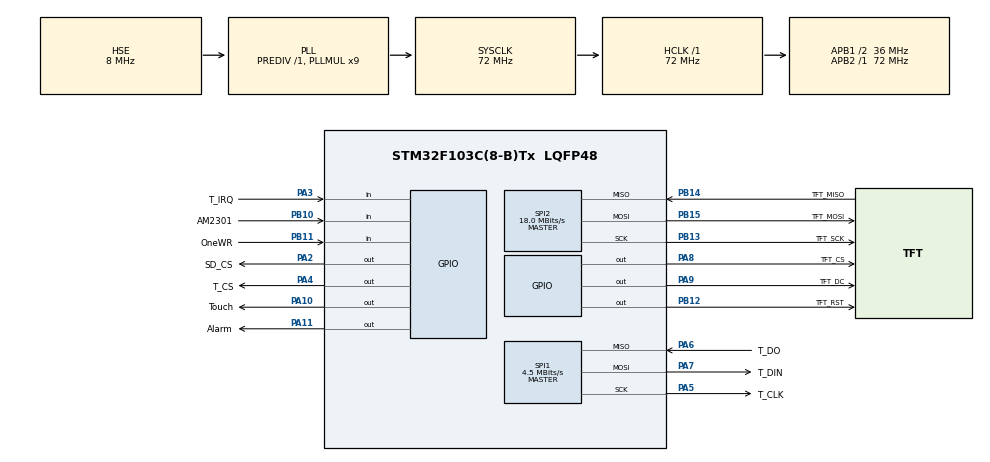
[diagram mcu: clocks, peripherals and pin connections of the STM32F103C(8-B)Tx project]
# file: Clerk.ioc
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Mcu.Family=STM32F1
PA6.Mode=Full_Duplex_Master
FATFS._USE_LFN=1
SPI1.VirtualType=VM_MASTER
SPI2.VirtualType=VM_MASTER
TIM1.RepetitionCounter=0
PB14.GPIO_Label=TFT_MISO
PA3.GPIO_PuPd=GPIO_PULLUP
PA2.GPIO_Speed=GPIO_SPEED_FREQ_HIGH
VP_RTC_VS_RTC_Activate.Mode=RTC_Enabled
PA6.GPIO_Label=T_DO
NVIC.TIM1_UP_IRQn=true\:0\:0\:false\:false\:true\:true\:true
PB13.GPIO_Label=TFT_SCK
PB11.Signal=GPIO_Input
PB13.Signal=SPI2_SCK
PB15.Signal=SPI2_MOSI
RCC.SYSCLKSource=RCC_SYSCLKSOURCE_PLLCLK
ProjectManager.StackSize=0x400
PD1-OSC_OUT.Signal=RCC_OSC_OUT
NVIC.RTC_IRQn=true\:0\:0\:false\:false\:true\:true\:true
TIM1.Prescaler=719
FATFS._MAX_LFN=15
SPI1.Direction=SPI_DIRECTION_2LINES
RCC.HCLKFreq_Value=72000000
RCC.APB2TimFreq_Value=72000000
PB12.PinState=GPIO_PIN_RESET
SPI1.CalculateBaudRate=4.5 MBits/s
RCC.AHBFreq_Value=72000000
SPI2.BaudRatePrescaler=SPI_BAUDRATEPRESCALER_2
RCC.RTCClockSelection=RCC_RTCCLKSOURCE_LSE
RCC.PLLMUL=RCC_PLL_MUL9
PA4.GPIO_Speed=GPIO_SPEED_FREQ_HIGH
PB12.GPIO_Label=TFT_RST
PA2.PinState=GPIO_PIN_SET
PC14-OSC32_IN.Mode=LSE-External-Oscillator
PA14.Mode=Serial_Wire
PB14.Mode=Full_Duplex_Master
PA10.GPIO_Label=Touch
SPI2.CalculateBaudRate=18.0 MBits/s
PA8.Signal=GPIO_Output
VP_TIM1_VS_ClockSourceINT.Mode=Internal
Mcu.Package=LQFP48
PA6.Signal=SPI1_MISO
SPI2.Mode=SPI_MODE_MASTER
PA2.GPIO_Label=SD_CS
PA10.Signal=GPIO_Output
RCC.APB1TimFreq_Value=72000000
SPI2.Direction=SPI_DIRECTION_2LINES
TIM1.Period=999
PB13.Mode=Full_Duplex_Master
SPI1.BaudRatePrescaler=SPI_BAUDRATEPRESCALER_16
PA4.GPIO_Label=T_CS
PA8.GPIO_Speed=GPIO_SPEED_FREQ_HIGH
PA3.Signal=GPIO_Input
PA5.Mode=Full_Duplex_Master
RCC.PLLSourceVirtual=RCC_PLLSOURCE_HSE
PC15-OSC32_OUT.Mode=LSE-External-Oscillator
PA7.Mode=Full_Duplex_Master
PD1-OSC_OUT.Mode=HSE-External-Oscillator
PA9.GPIO_Label=TFT_DC
PB11.GPIO_Label=OneWR
PA11.GPIO_Label=Alarm
PD0-OSC_IN.Signal=RCC_OSC_IN
RCC.APB1CLKDivider=RCC_HCLK_DIV2
PC14-OSC32_IN.Signal=RCC_OSC32_IN
PA13.Signal=SYS_JTMS-SWDIO
PA8.GPIO_Label=TFT_CS
PA4.PinState=GPIO_PIN_SET
ProjectManager.TargetToolchain=MDK-ARM V5
PB10.GPIO_Label=AM2301
PA9.Signal=GPIO_Output
PA9.PinState=GPIO_PIN_RESET
RTC.Format=RTC_FORMAT_BCD
RCC.USBFreq_Value=72000000
PC15-OSC32_OUT.Signal=RCC_OSC32_OUT
PB12.GPIO_Speed=GPIO_SPEED_FREQ_HIGH
VP_FATFS_VS_Generic.Mode=User_defined
PD0-OSC_IN.Mode=HSE-External-Oscillator
PB10.Signal=GPIO_Input
PB14.Signal=SPI2_MISO
PA5.Signal=SPI1_SCK
board=custom
PB15.Mode=Full_Duplex_Master
RCC.APB2Freq_Value=72000000
PB15.GPIO_Label=TFT_MOSI
SPI1.Mode=SPI_MODE_MASTER
PA13.Mode=Serial_Wire
Mcu.Name=STM32F103C(8-B)Tx
PA2.Signal=GPIO_Output
FATFS._MAX_SS=4096
PA4.Signal=GPIO_Output
RCC.SYSCLKFreq_VALUE=72000000
PA7.GPIO_Label=T_DIN
PA5.GPIO_Label=T_CLK
PA11.Signal=GPIO_Output
PA14.Signal=SYS_JTCK-SWCLK
ProjectManager.HeapSize=0x200
NVIC.PriorityGroup=NVIC_PRIORITYGROUP_4
PA9.GPIO_Speed=GPIO_SPEED_FREQ_HIGH
RCC.APB1Freq_Value=36000000
PA11.PinState=GPIO_PIN_SET
PB12.Signal=GPIO_Output
PA3.GPIO_Label=T_IRQ
PA7.Signal=SPI1_MOSI

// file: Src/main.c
/* USER CODE BEGIN Header */
/**
STM32F103C8Tx LQFP48	Flash:64 kBytes	RAM:20 kBytes
  ******************************************************************************
  * @file           : main.c
  * @brief          : Main program body
  ******************************************************************************
  * @attention
  *
  * <h2><center>&copy; Copyright (c) 2020 STMicroelectronics.
  * All rights reserved.</center></h2>
  *
  * This software component is licensed by ST under Ultimate Liberty license
  * SLA0044, the "License"; You may not use this file except in compliance with
  * the License. You may obtain a copy of the License at:
  *                             www.st.com/SLA0044
  *
  ******************************************************************************
  * Програма КЛЕРК v 1.0 31.08.2026
  */
/* USER CODE END Header */

#include "main.h"
#include "fatfs.h"

/* USER CODE BEGIN Includes */
#include <stdio.h>
#include <stdlib.h>
#include "tft_proc.h"
#include "ili9341_touch.h"
#include "ds18b20.h"
#include "displ.h"
#include "FatFsAPI.h"
#include "rtc.h"
#include "my.h"
#include "lang.h"
/* USER CODE END Includes */

RTC_HandleTypeDef hrtc;

SPI_HandleTypeDef hspi1;
SPI_HandleTypeDef hspi2;

TIM_HandleTypeDef htim1;

/* USER CODE BEGIN PV */
RTC_TimeTypeDef sTime;
RTC_DateTypeDef sDate;

char fileName[15]={0};
char txt[10];
char buffTFT[LEN_BUFF];
const char* dateName[5]={D_N0, D_N1, D_N2, D_N3, D_N4};
const char* setName[MAX_SET]={"Max T","Min T", S_N2, S_N3, S_N4}; // "Max T","Min T","Period","Mode","Storage"
int16_t set[MAX_SET]={250,240,10,0,2}, newValue=0;
volatile uint8_t displ_num=0, newButt=1, ticTimer, ticTouch, show, Y_txt=5, X_left=5, Y_top, Y_bottom=ILI9341_HEIGHT-22, buttonAmount, secTick, card=0;
uint8_t familycode[MAX_DEVICE][8]={0};
int8_t ds18b20_amount, numSet=0, numDate=0, newDate=0;
volatile int8_t resetDispl=0;
int16_t ds18b20_val[MAX_DEVICE]={199}, max_t, min_t, midl_t, val_t, pvT, pvRH;
uint16_t touch_x, touch_y;
uint16_t fillScreen = ILI9341_BLACK;
volatile uint32_t checkButt;
struct ram_structure {int x,y; char w,h;} buttons[4];

extern FATFS SDFatFs;
extern FIL MyFile;
/* USER CODE END PV */

void SystemClock_Config(void);
static void MX_GPIO_Init(void);
static void MX_SPI2_Init(void);
static void MX_SPI1_Init(void);
static void MX_TIM1_Init(void);
static void MX_RTC_Init(void);

/* USER CODE BEGIN 0 */
//-------- Period elapsed callback --------------
void HAL_TIM_PeriodElapsedCallback(TIM_HandleTypeDef *htim){
  if(htim->Instance == TIM1) //check if the interrupt comes from TIM1 (10 ms)
  {
    checkButt++;
    uint8_t sound = 0;

    if (ticTouch){
      --ticTouch;
      sound = 1; // touch indication
    }
    if (ticTimer){
      --ticTimer;
      if (set[3]&1) sound = 1; // alarm indication
    }

    HAL_GPIO_WritePin(Touch_GPIO_Port, Touch_Pin, sound ? GPIO_PIN_SET : GPIO_PIN_RESET);
  }
}
/* USER CODE END 0 */

int main(void)
{

  /* MCU Configuration--------------------------------------------------------*/

  /* Reset of all peripherals, Initializes the Flash interface and the Systick. */
  HAL_Init();

  /* Configure the system clock */
  SystemClock_Config();

  /* Initialize all configured peripherals */
  MX_GPIO_Init();
  MX_SPI2_Init();
  MX_SPI1_Init();
  MX_TIM1_Init();
  MX_FATFS_Init();
  MX_RTC_Init();
  /* USER CODE BEGIN 2 */
//----------- Local variables -----------
  uint8_t item;
//  struct gmc systime;
//--------------------------------------------
//  HAL_GPIO_WritePin(GPIOC, GPIO_PIN_13, GPIO_PIN_SET);  // LED_PC13=OFF
  HAL_TIM_Base_Start_IT(&htim1);
  TFT_init();
  ds18b20_port_init();
  item = ds18b20_count(MAX_DEVICE);   // check for sensors presence; if item == 0, sensors are found
  //ds18b20_amount = 21;
  //*******************************************************************************************************************************************************************************
  HAL_RTC_WaitForSynchro(&hrtc);                      // This function must be called after power-on, wake-up, or reset
  if (HAL_RTCEx_BKUPRead(&hrtc,RTC_BKP_DR1) == 0){    // Check if the date has already been saved or not
   // if not, set an initial date and time
   setDataAndTime(0x26,RTC_MONTH_SEPTEMBER,0x01,RTC_WEEKDAY_THURSDAY,0x00,0x00,0x00,RTC_FORMAT_BCD);//2026,JANUARY,01  WEEKDAY_THURSDAY  00:00:00
   writeDateToBackup(RTC_BKP_DR1);                    // and write the date to the backup registers
   writeSetToBackup(RTC_BKP_DR2);                     // write default settings values
  }
  else {
    readSetToBackup(RTC_BKP_DR2);                     // read settings values stored in memory
    readBackupToDate(RTC_BKP_DR1);                    // perform date correction
    writeDateToBackup(RTC_BKP_DR1);                   // save the updated date
  }
  //*******************************************************************************************************************************************************************************

  HAL_RTCEx_SetSecond_IT(&hrtc);
  ILI9341_WriteString(5, Y_txt, (char*)STR_QUANTITY, Font_11x18, ILI9341_CYAN, ILI9341_BLACK);
  sprintf(buffTFT," %d",ds18b20_amount);
  ILI9341_WriteString(5+11*19, Y_txt, buffTFT, Font_11x18, ILI9341_CYAN, ILI9341_BLACK);
  Y_txt = Y_txt+18+5;

  HAL_RTC_GetTime(&hrtc, &sTime, RTC_FORMAT_BIN);
  HAL_RTC_GetDate(&hrtc, &sDate, RTC_FORMAT_BIN);
  sprintf(buffTFT,"%02u:%02u:%02u    %02u.%02u.20%02u",sTime.Hours, sTime.Minutes, sTime.Seconds,sDate.Date,sDate.Month,sDate.Year);
  ILI9341_WriteString(X_left+20, Y_txt, buffTFT, Font_11x18, ILI9341_YELLOW, fillScreen);
  Y_txt = Y_txt+18+5;
  //------ generating file name ---------------------------------------
  sprintf(fileName,"%02u_%02u_%02u.csv",sDate.Year,sDate.Month,sDate.Date);
  //------- Settings ----------------------------------------------------
  for (item = 0; item < MAX_SET; item++){
    if (item<2) sprintf(buffTFT,"%10s: %5.1f", setName[item], (float)set[item]/10);
    else sprintf(buffTFT,"%10s: %5i", setName[item], set[item]);
    ILI9341_WriteString(X_left, Y_txt, buffTFT, Font_11x18, ILI9341_WHITE, fillScreen);
    Y_txt = Y_txt+18+5;
  }
  //-----------------------------------------------------------------------
  if (ds18b20_amount){
    ds18b20_Convert_T();        // first temperature measurement
    HAL_Delay(1000);
    card = My_LinkDriver();     // SD card initialization
  }
  HAL_Delay(5000);
  ILI9341_FillScreen(fillScreen);
  Y_txt = 5; X_left = 5;
  /* USER CODE END 2 */

/* Infinite loop */
  /* USER CODE BEGIN WHILE */
  uint8_t last_date = sDate.Date;

  while (1){
    //----- Touchscreen processing (always fast) ---------------------------
    if (ILI9341_TouchPressed() && checkButt > 40){
      ticTouch = 1;
      if(ILI9341_TouchGetCoordinates(&touch_x, &touch_y)){
        for (item=0; item<buttonAmount; item++){
          if(contains(touch_x, touch_y, item)) break;
        }
        checkButtons(item);
        if (displ_num) resetDispl = 60;
        else resetDispl = 0;
        display();
      }
      checkButt = 0;
    }

    //----- Periodic tasks (triggered by RTC interrupt) ---------------------
    if (show){
      show = 0;
      HAL_RTC_GetTime(&hrtc, &sTime, RTC_FORMAT_BIN);
      HAL_RTC_GetDate(&hrtc, &sDate, RTC_FORMAT_BIN);

      // Check if a new day has arrived to change the log file
      if (sDate.Date != last_date){
        last_date = sDate.Date;
        writeDateToBackup(RTC_BKP_DR1);
        SD_close(); // Close old file
        sprintf(fileName, "%02u_%02u_%02u.csv", sDate.Year, sDate.Month, sDate.Date);
        card = My_LinkDriver(); // Open new file
        if (card) SD_CleanUp();
      }

      temperature_check();
      display();
    }

    //----- Data Logging logic ----------------------------------------------
    if (ds18b20_amount > 0) {
      if (secTick >= set[2]){ // Logging period reached
        secTick = 0;
        if (card){
          SD_write(fileName); // Appends and syncs
        } else {
          card = My_LinkDriver(); // Try to reconnect
          if (card) SD_write(fileName);
          newButt = card;
        }
      }
    } else {
        ILI9341_WriteString(45, 100, (char*)STR_NOT_FOUND, Font_11x18, ILI9341_MAGENTA, ILI9341_BLACK);
//        ds18b20_port_init();
        item = ds18b20_count(MAX_DEVICE);
        if(ds18b20_amount > 0) newButt = 1;
        else HAL_Delay(5000);
        ILI9341_FillScreen(fillScreen);
    }
    /* USER CODE END WHILE */

  }
}

void SystemClock_Config(void)
{
  RCC_OscInitTypeDef RCC_OscInitStruct = {0};
  RCC_ClkInitTypeDef RCC_ClkInitStruct = {0};
  RCC_PeriphCLKInitTypeDef PeriphClkInit = {0};

  /** Initializes the CPU, AHB and APB busses clocks
  */
  RCC_OscInitStruct.OscillatorType = RCC_OSCILLATORTYPE_HSE|RCC_OSCILLATORTYPE_LSE;
  RCC_OscInitStruct.HSEState = RCC_HSE_ON;
  RCC_OscInitStruct.HSEPredivValue = RCC_HSE_PREDIV_DIV1;
  RCC_OscInitStruct.LSEState = RCC_LSE_ON;
  RCC_OscInitStruct.HSIState = RCC_HSI_ON;
  RCC_OscInitStruct.PLL.PLLState = RCC_PLL_ON;
  RCC_OscInitStruct.PLL.PLLSource = RCC_PLLSOURCE_HSE;
  RCC_OscInitStruct.PLL.PLLMUL = RCC_PLL_MUL9;
  if (HAL_RCC_OscConfig(&RCC_OscInitStruct) != HAL_OK)
  {
    Error_Handler();
  }
  /** Initializes the CPU, AHB and APB busses clocks
  */
  RCC_ClkInitStruct.ClockType = RCC_CLOCKTYPE_HCLK|RCC_CLOCKTYPE_SYSCLK
                              |RCC_CLOCKTYPE_PCLK1|RCC_CLOCKTYPE_PCLK2;
  RCC_ClkInitStruct.SYSCLKSource = RCC_SYSCLKSOURCE_PLLCLK;
  RCC_ClkInitStruct.AHBCLKDivider = RCC_SYSCLK_DIV1;
  RCC_ClkInitStruct.APB1CLKDivider = RCC_HCLK_DIV2;
  RCC_ClkInitStruct.APB2CLKDivider = RCC_HCLK_DIV1;

  if (HAL_RCC_ClockConfig(&RCC_ClkInitStruct, FLASH_LATENCY_2) != HAL_OK)
  {
    Error_Handler();
  }
  PeriphClkInit.PeriphClockSelection = RCC_PERIPHCLK_RTC;
  PeriphClkInit.RTCClockSelection = RCC_RTCCLKSOURCE_LSE;
  if (HAL_RCCEx_PeriphCLKConfig(&PeriphClkInit) != HAL_OK)
  {
    Error_Handler();
  }
}

static void MX_RTC_Init(void)
{

  /** Initialize RTC Only
  */
  hrtc.Instance = RTC;
  hrtc.Init.AsynchPrediv = RTC_AUTO_1_SECOND;
  hrtc.Init.OutPut = RTC_OUTPUTSOURCE_ALARM;
  if (HAL_RTC_Init(&hrtc) != HAL_OK)
  {
    Error_Handler();
  }

}

static void MX_SPI1_Init(void)
{

  /* SPI1 parameter configuration*/
  hspi1.Instance = SPI1;
  hspi1.Init.Mode = SPI_MODE_MASTER;
  hspi1.Init.Direction = SPI_DIRECTION_2LINES;
  hspi1.Init.DataSize = SPI_DATASIZE_8BIT;
  hspi1.Init.CLKPolarity = SPI_POLARITY_LOW;
  hspi1.Init.CLKPhase = SPI_PHASE_1EDGE;
  hspi1.Init.NSS = SPI_NSS_SOFT;
  hspi1.Init.BaudRatePrescaler = SPI_BAUDRATEPRESCALER_16;
  hspi1.Init.FirstBit = SPI_FIRSTBIT_MSB;
  hspi1.Init.TIMode = SPI_TIMODE_DISABLE;
  hspi1.Init.CRCCalculation = SPI_CRCCALCULATION_DISABLE;
  hspi1.Init.CRCPolynomial = 10;
  if (HAL_SPI_Init(&hspi1) != HAL_OK)
  {
    Error_Handler();
  }

}

static void MX_SPI2_Init(void)
{

  /* SPI2 parameter configuration*/
  hspi2.Instance = SPI2;
  hspi2.Init.Mode = SPI_MODE_MASTER;
  hspi2.Init.Direction = SPI_DIRECTION_2LINES;
  hspi2.Init.DataSize = SPI_DATASIZE_8BIT;
  hspi2.Init.CLKPolarity = SPI_POLARITY_LOW;
  hspi2.Init.CLKPhase = SPI_PHASE_1EDGE;
  hspi2.Init.NSS = SPI_NSS_SOFT;
  hspi2.Init.BaudRatePrescaler = SPI_BAUDRATEPRESCALER_2;
  hspi2.Init.FirstBit = SPI_FIRSTBIT_MSB;
  hspi2.Init.TIMode = SPI_TIMODE_DISABLE;
  hspi2.Init.CRCCalculation = SPI_CRCCALCULATION_DISABLE;
  hspi2.Init.CRCPolynomial = 10;
  if (HAL_SPI_Init(&hspi2) != HAL_OK)
  {
    Error_Handler();
  }

}

static void MX_TIM1_Init(void)
{

  TIM_ClockConfigTypeDef sClockSourceConfig = {0};
  TIM_MasterConfigTypeDef sMasterConfig = {0};

  htim1.Instance = TIM1;
  htim1.Init.Prescaler = 719;
  htim1.Init.CounterMode = TIM_COUNTERMODE_UP;
  htim1.Init.Period = 999;
  htim1.Init.ClockDivision = TIM_CLOCKDIVISION_DIV1;
  htim1.Init.RepetitionCounter = 0;
  htim1.Init.AutoReloadPreload = TIM_AUTORELOAD_PRELOAD_DISABLE;
  if (HAL_TIM_Base_Init(&htim1) != HAL_OK)
  {
    Error_Handler();
  }
  sClockSourceConfig.ClockSource = TIM_CLOCKSOURCE_INTERNAL;
  if (HAL_TIM_ConfigClockSource(&htim1, &sClockSourceConfig) != HAL_OK)
  {
    Error_Handler();
  }
  sMasterConfig.MasterOutputTrigger = TIM_TRGO_RESET;
  sMasterConfig.MasterSlaveMode = TIM_MASTERSLAVEMODE_DISABLE;
  if (HAL_TIMEx_MasterConfigSynchronization(&htim1, &sMasterConfig) != HAL_OK)
  {
    Error_Handler();
  }

}

static void MX_GPIO_Init(void)
{
  GPIO_InitTypeDef GPIO_InitStruct = {0};

  /* GPIO Ports Clock Enable */
  __HAL_RCC_GPIOC_CLK_ENABLE();
  __HAL_RCC_GPIOD_CLK_ENABLE();
  __HAL_RCC_GPIOA_CLK_ENABLE();
  __HAL_RCC_GPIOB_CLK_ENABLE();

  /*Configure GPIO pin Output Level */
  HAL_GPIO_WritePin(GPIOA, SD_CS_Pin|T_CS_Pin|Alarm_Pin, GPIO_PIN_SET);

  /*Configure GPIO pin Output Level */
  HAL_GPIO_WritePin(TFT_RST_GPIO_Port, TFT_RST_Pin, GPIO_PIN_RESET);

  /*Configure GPIO pin Output Level */
  HAL_GPIO_WritePin(GPIOA, TFT_CS_Pin|TFT_DC_Pin|Touch_Pin, GPIO_PIN_RESET);

  /*Configure GPIO pins : SD_CS_Pin T_CS_Pin TFT_CS_Pin TFT_DC_Pin */
  GPIO_InitStruct.Pin = SD_CS_Pin|T_CS_Pin|TFT_CS_Pin|TFT_DC_Pin;
  GPIO_InitStruct.Mode = GPIO_MODE_OUTPUT_PP;
  GPIO_InitStruct.Pull = GPIO_NOPULL;
  GPIO_InitStruct.Speed = GPIO_SPEED_FREQ_HIGH;
  HAL_GPIO_Init(GPIOA, &GPIO_InitStruct);

  /*Configure GPIO pin : T_IRQ_Pin */
  GPIO_InitStruct.Pin = T_IRQ_Pin;
  GPIO_InitStruct.Mode = GPIO_MODE_INPUT;
  GPIO_InitStruct.Pull = GPIO_PULLUP;
  HAL_GPIO_Init(T_IRQ_GPIO_Port, &GPIO_InitStruct);

  /*Configure GPIO pins : AM2301_Pin OneWR_Pin */
  GPIO_InitStruct.Pin = AM2301_Pin|OneWR_Pin;
  GPIO_InitStruct.Mode = GPIO_MODE_INPUT;
  GPIO_InitStruct.Pull = GPIO_NOPULL;
  HAL_GPIO_Init(GPIOB, &GPIO_InitStruct);

  /*Configure GPIO pin : TFT_RST_Pin */
  GPIO_InitStruct.Pin = TFT_RST_Pin;
  GPIO_InitStruct.Mode = GPIO_MODE_OUTPUT_PP;
  GPIO_InitStruct.Pull = GPIO_NOPULL;
  GPIO_InitStruct.Speed = GPIO_SPEED_FREQ_HIGH;
  HAL_GPIO_Init(TFT_RST_GPIO_Port, &GPIO_InitStruct);

  /*Configure GPIO pins : Touch_Pin Alarm_Pin */
  GPIO_InitStruct.Pin = Touch_Pin|Alarm_Pin;
  GPIO_InitStruct.Mode = GPIO_MODE_OUTPUT_PP;
  GPIO_InitStruct.Pull = GPIO_NOPULL;
  GPIO_InitStruct.Speed = GPIO_SPEED_FREQ_LOW;
  HAL_GPIO_Init(GPIOA, &GPIO_InitStruct);

}

void Error_Handler(void)
{
}

/************************ (C) COPYRIGHT STMicroelectronics *****END OF FILE****/
